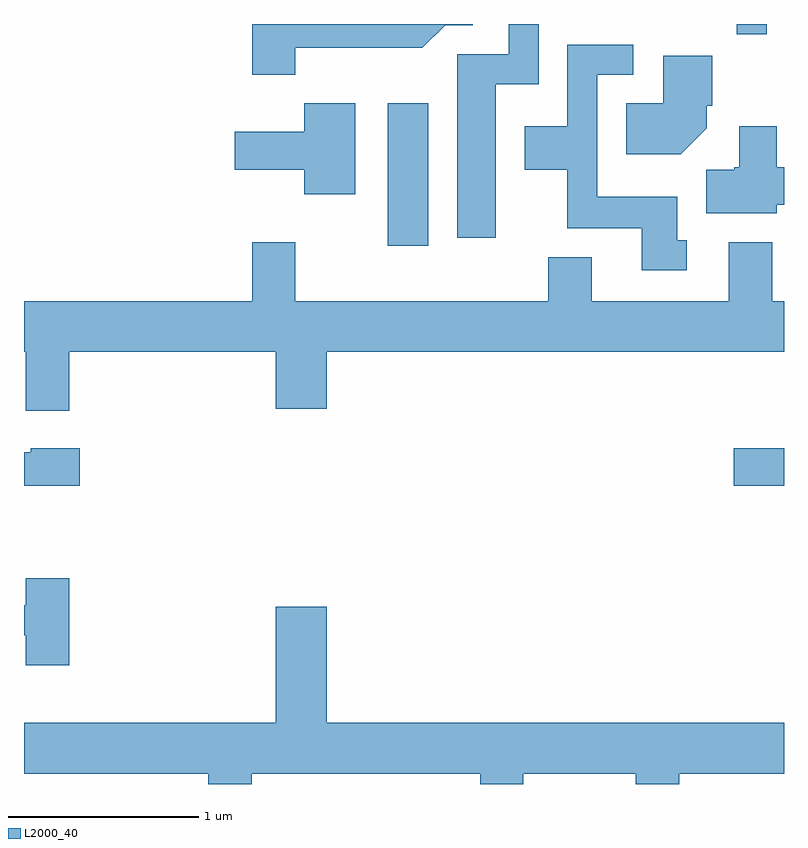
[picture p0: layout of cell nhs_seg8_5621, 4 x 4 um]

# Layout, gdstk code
import gdstk
lib = gdstk.Library(unit=1e-6, precision=1e-09)
def R(c, l, rs):  # rectangles x0, y0, x1, y1
    for r in rs: c.add(gdstk.rectangle(r[:2], r[2:], *l))
def P(c, l, *ps):  # polygons
    for p in ps: c.add(gdstk.Polygon(p, *l))
L2000_40 = (2000, 40)

nhs_seg8_5621 = lib.new_cell('nhs_seg8_5621')
R(nhs_seg8_5621, L2000_40, [(357.346,1857.911,357.611,1858.109), (355.526,1859.176,355.739,1859.924), (357.361,1860.288,357.519,1860.342)])
P(nhs_seg8_5621, L2000_40, [(356.094,1860.026),(356.319,1860.026),(356.319,1860.342),(356.161,1860.342),(356.161,1860.184),(355.891,1860.184),(355.891,1859.216),(356.094,1859.216)],
  [(355.039,1860.216),(355.707,1860.216),(355.827,1860.336),(355.973,1860.336),(355.973,1860.342),(354.811,1860.342),(354.811,1860.076),(355.039,1860.076)],
  [(357.098,1859.204),(357.049,1859.204),(357.049,1859.434),(356.629,1859.434),(356.629,1860.076),(356.818,1860.076),(356.818,1860.234),(356.471,1860.234),(356.471,1859.804),(356.246,1859.804),(356.246,1859.576),(356.471,1859.576),(356.471,1859.266),(356.861,1859.266),(356.861,1859.046),(357.098,1859.046)],
  [(357.204,1859.794),(357.204,1859.911),(357.234,1859.911),(357.234,1860.174),(356.976,1860.174),(356.976,1859.924),(356.781,1859.924),(356.781,1859.656),(357.067,1859.656)],
  [(355.354,1859.924),(355.086,1859.924),(355.086,1859.774),(354.721,1859.774),(354.721,1859.576),(355.086,1859.576),(355.086,1859.446),(355.354,1859.446)],
  [(357.574,1859.391),(357.611,1859.391),(357.611,1859.589),(357.574,1859.589),(357.574,1859.804),(357.376,1859.804),(357.376,1859.589),(357.35,1859.589),(357.35,1859.574),(357.201,1859.574),(357.201,1859.346),(357.574,1859.346)],
  [(353.849,1858.616),(354.936,1858.616),(354.936,1858.316),(355.204,1858.316),(355.204,1858.616),(357.611,1858.616),(357.611,1858.884),(357.549,1858.884),(357.549,1859.194),(357.321,1859.194),(357.321,1858.884),(356.599,1858.884),(356.599,1859.114),(356.371,1859.114),(356.371,1858.884),(355.039,1858.884),(355.039,1859.194),(354.811,1859.194),(354.811,1858.884),(353.611,1858.884),(353.611,1858.616),(353.621,1858.616),(353.621,1858.306),(353.849,1858.306)],
  [(353.904,1858.109),(353.646,1858.109),(353.646,1858.089),(353.611,1858.089),(353.611,1857.911),(353.904,1857.911)],
  [(353.849,1857.424),(353.621,1857.424),(353.621,1857.284),(353.611,1857.284),(353.611,1857.126),(353.621,1857.126),(353.621,1856.966),(353.849,1856.966)],
  [(354.809,1856.396),(356.011,1856.396),(356.011,1856.342),(356.239,1856.342),(356.239,1856.396),(356.831,1856.396),(356.831,1856.342),(357.059,1856.342),(357.059,1856.396),(357.611,1856.396),(357.611,1856.664),(355.204,1856.664),(355.204,1857.274),(354.936,1857.274),(354.936,1856.664),(353.611,1856.664),(353.611,1856.396),(354.581,1856.396),(354.581,1856.342),(354.809,1856.342)])

lib.write_gds('nhs_seg8_5621.gds')
